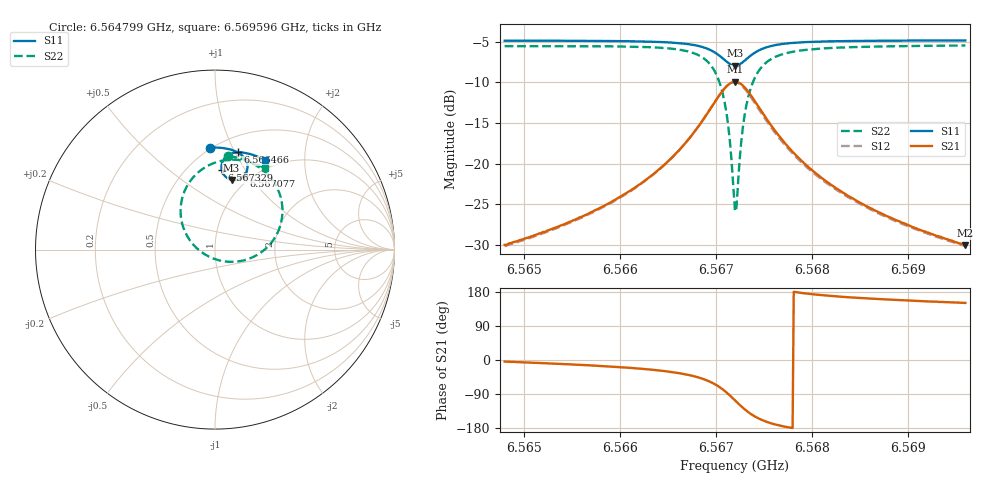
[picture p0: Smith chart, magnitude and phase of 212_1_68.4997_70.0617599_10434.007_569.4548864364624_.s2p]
#  HZ  S  RI  R  50.00
! Rohde & Schwarz Vector Network Analyzer
! Rohde-Schwarz,ZNB20-2Port,1311601062101988,3.16
! Created: UTC 3/20/2024, 5:13:11 PM
! freq[Hz]  re:S11  im:S11  re:S21  im:S21  re:S12  im:S12  re:S22  im:S22
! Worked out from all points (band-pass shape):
!   401 points, 6.564799 GHz to 6.569596 GHz, reference 50 ohm
!   highest |S21| = -9.94 dB at 6.567197 GHz (marker M1); lowest = -30.0 dB at 6.569596 GHz (marker M2)
!   |S21| within 3 dB of the highest: 6.566959 GHz to 6.567438 GHz (479.2 kHz wide, 0.0073 % of centre)
!   lowest |S11| = -8.0 dB at 6.567197 GHz (marker M3), VSWR 2.33, Z = 43.1 + j39.8 ohm
!   |S11| at or under -10 dB: nowhere
!   |S22| runs from -25.8 to -5.5 dB; largest |S21 - S12| = 0.016
!   S11 on the Smith chart (normalised r, x): 6.564799 GHz: 0.49, +0.82; 6.566466 GHz: 0.65, +1.03; 6.567077 GHz: 0.92, +0.94; 6.567329 GHz: 0.71, +0.79; 6.569596 GHz: 0.88, +1.30
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6.5647988e9  -0.0284 0.5684  0.0317 -0.00226  0.0311 -0.00278  0.0737 0.5215
6.5656024e9  0.0393 0.5662  0.046 -0.0107  0.0453 -0.0113  0.1551 0.5032
6.5660461e9  0.0805 0.5591  0.0612 -0.022  0.0601 -0.0226  0.213 0.4787
6.5664059e9  0.1189 0.5458  0.0818 -0.0427  0.0806 -0.0436  0.2753 0.4358
6.5664658e9  0.126 0.5423  0.0864 -0.0485  0.0851 -0.0496  0.2879 0.4241
6.5667057e9  0.1567 0.5193  0.1083 -0.0877  0.1067 -0.0894  0.3444 0.3475
6.5668856e9  0.178 0.4825  0.1196 -0.1525  0.1165 -0.1558  0.3761 0.2227
6.5669935e9  0.1792 0.4446  0.1033 -0.2188  0.0974 -0.2233  0.3495 0.096
6.5670775e9  0.1604 0.4091  0.0538 -0.2791  0.0432 -0.2825  0.2565 -0.0157
6.5671254e9  0.1376 0.3931  0.00373 -0.3047  -0.00971 -0.3051  0.1631 -0.0594
6.5671854e9  0.0999 0.3873  -0.0747 -0.3091  -0.0892 -0.3035  0.0211 -0.0595
6.5671974e9  0.0919 0.3887  -0.0905 -0.3052  -0.1049 -0.2985  -0.00693 -0.0506
6.5672214e9  0.0769 0.3939  -0.1208 -0.2931  -0.1339 -0.2836  -0.0594 -0.0246
6.5672694e9  0.0528 0.4127  -0.17 -0.2538  -0.1789 -0.241  -0.14 0.0518
6.5673293e9  0.0376 0.4434  -0.2026 -0.1928  -0.206 -0.1792  -0.187 0.1633
6.5674253e9  0.041 0.4869  -0.2043 -0.109  -0.2023 -0.0985  -0.1757 0.3098
6.5675692e9  0.0684 0.5226  -0.1683 -0.0397  -0.1647 -0.034  -0.0986 0.4258
6.5677371e9  0.1005 0.5379  -0.1293 -0.00708  -0.1261 -0.00392  -0.0176 0.4777
6.5680009e9  0.1395 0.5422  -0.0906 0.0101  -0.0883 0.0115  0.0684 0.4996
6.5683727e9  0.1807 0.5365  -0.0616 0.0157  -0.0602 0.0164  0.1434 0.4981
6.5688044e9  0.2196 0.5247  -0.044 0.0165  -0.043 0.0168  0.2016 0.4851
6.569596e9  0.2805 0.497  -0.0276 0.0155  -0.027 0.0157  0.2774 0.4533
